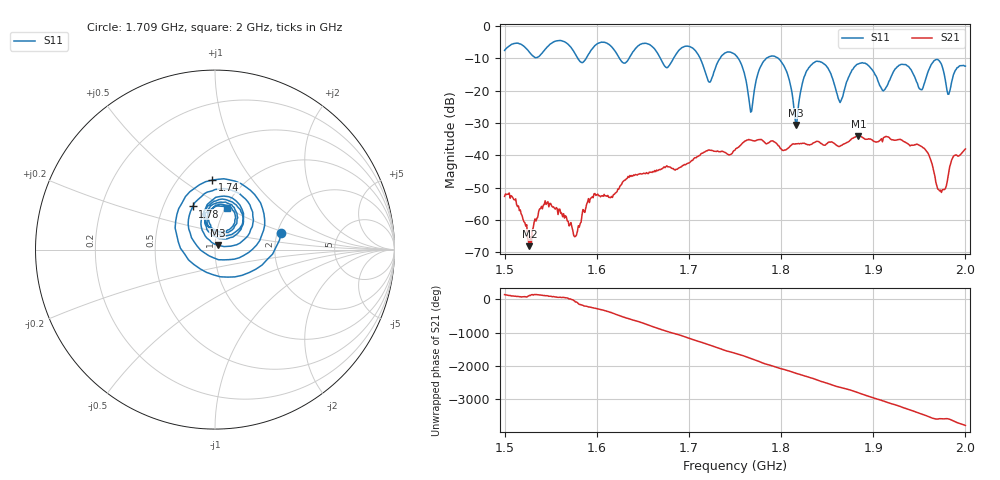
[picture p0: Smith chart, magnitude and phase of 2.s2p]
! NanoVNA-App by SYSJOINT et al v1.1.209 (+OD18)
! Date: 2026-01-21 14:21:16
! Start: 1,5GHz Stop: 2GHz Points: 501
! S-Parameter data: F S11 S21 S12 S22
# Hz S RI R 50
!  Frequency  S11_Real  S11_Imag  S21_Real  S21_Imag  S12_Real  S12_Imag  S22_Real  S22_Imag
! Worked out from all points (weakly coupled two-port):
!   501 points, 1.5 GHz to 2 GHz, reference 50 ohm
!   highest |S21| = -34.03 dB at 1.884 GHz (marker M1); lowest = -68.2 dB at 1.527 GHz (marker M2)
!   lowest |S11| = -30.7 dB at 1.816 GHz (marker M3), VSWR 1.06, Z = 51.3 + j2.65 ohm
!   |S11| at or under -10 dB: 1.712 GHz to 1.734 GHz (21.59 MHz wide, 1.25 % of centre); 1.753 GHz to 1.784 GHz (30.47 MHz wide, 1.72 % of centre); 1.797 GHz to end of sweep (the widest 3 of 6)
!   S12 and S22 are empty: the file has one direction only
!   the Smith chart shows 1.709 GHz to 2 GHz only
!   S11 on the Smith chart (normalised r, x): 1.709 GHz: 2.11, +0.46; 1.74 GHz: 0.72, +0.66; 1.78 GHz: 0.70, +0.36; 2 GHz: 1.02, +0.50
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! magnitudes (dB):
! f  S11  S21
! 1.5 GHz  -7.5  -52.7
! 1.527 GHz  -8.1  -68.2
! 1.545 GHz  -6.9  -55.2
! 1.576 GHz  -8.3  -65.2
! 1.584 GHz  -11.3  -58.5
! 1.667 GHz  -8.9  -44.6
! 1.709 GHz  -8.4  -40.4
! 1.722 GHz  -17.4  -38.4
! 1.74 GHz  -8.2  -39.3
! 1.75 GHz  -8.8  -38.4
! 1.767 GHz  -26.7  -35.3
! 1.78 GHz  -11.4  -35.5
! 1.802 GHz  -11.8  -38.5
! 1.816 GHz  -30.7  -36.5
! 1.834 GHz  -11.7  -36.4
! 1.864 GHz  -23.7  -37.2
! 1.884 GHz  -11.7  -34.0
! 1.917 GHz  -17.1  -34.4
! 1.956 GHz  -17.3  -38.1
! 1.972 GHz  -10.9  -51.0
! 1.982 GHz  -21.1  -45.3
! 2 GHz  -12.4  -38.1
